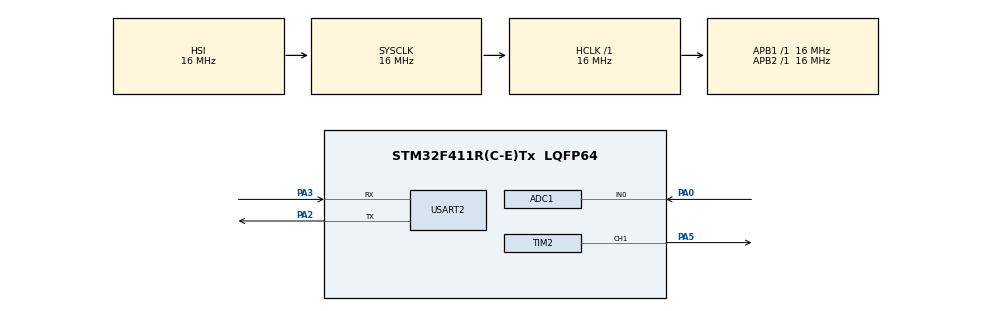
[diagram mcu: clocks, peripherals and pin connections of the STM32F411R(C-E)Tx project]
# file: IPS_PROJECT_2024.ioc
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ADC1.Channel-0\#ChannelRegularConversion=ADC_CHANNEL_0
ADC1.NbrOfConversionFlag=1
ADC1.Rank-0\#ChannelRegularConversion=1
ADC1.SamplingTime-0\#ChannelRegularConversion=ADC_SAMPLETIME_3CYCLES
ADC1.master=1
Dma.ADC1.0.Direction=DMA_PERIPH_TO_MEMORY
Dma.ADC1.0.FIFOMode=DMA_FIFOMODE_DISABLE
Dma.ADC1.0.Instance=DMA2_Stream0
Dma.ADC1.0.MemDataAlignment=DMA_MDATAALIGN_HALFWORD
Dma.ADC1.0.MemInc=DMA_MINC_ENABLE
Dma.ADC1.0.Mode=DMA_NORMAL
Dma.ADC1.0.PeriphDataAlignment=DMA_PDATAALIGN_HALFWORD
Dma.ADC1.0.PeriphInc=DMA_PINC_DISABLE
Dma.ADC1.0.Priority=DMA_PRIORITY_LOW
Dma.Request0=ADC1
Mcu.Family=STM32F4
Mcu.Name=STM32F411R(C-E)Tx
Mcu.Package=LQFP64
NVIC.DMA2_Stream0_IRQn=true\:0\:0\:false\:false\:true\:false\:true\:true
NVIC.PriorityGroup=NVIC_PRIORITYGROUP_4
NVIC.USART2_IRQn=true\:0\:0\:false\:false\:true\:true\:true\:true
PA0-WKUP.Signal=ADCx_IN0
PA2.Mode=Asynchronous
PA2.Signal=USART2_TX
PA3.Mode=Asynchronous
PA3.Signal=USART2_RX
PA5.Signal=S_TIM2_CH1_ETR
ProjectManager.HeapSize=0x200
ProjectManager.StackSize=0x400
ProjectManager.TargetToolchain=STM32CubeIDE
RCC.AHBFreq_Value=16000000
RCC.APB1Freq_Value=16000000
RCC.APB2Freq_Value=16000000
RCC.CortexFreq_Value=16000000
RCC.HSE_VALUE=25000000
RCC.HSI_VALUE=16000000
RCC.LSE_VALUE=32768
RCC.SYSCLKFreq_VALUE=16000000
RCC.VCOOutputFreq_Value=192000000
SH.ADCx_IN0.0=ADC1_IN0,IN0
SH.S_TIM2_CH1_ETR.0=TIM2_CH1,PWM Generation1 CH1
TIM2.AutoReloadPreload=TIM_AUTORELOAD_PRELOAD_ENABLE
TIM2.Channel-PWM\ Generation1\ CH1=TIM_CHANNEL_1
TIM2.Period=200
TIM2.Prescaler=1599
USART2.VirtualMode=VM_ASYNC
board=custom

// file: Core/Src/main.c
/* USER CODE BEGIN Header */
/**
  ******************************************************************************
  * @file           : main.c
  * @brief          : Main program body
  ******************************************************************************
  * @attention
  *
  * Copyright (c) 2024 STMicroelectronics.
  * All rights reserved.
  *
  * This software is licensed under terms that can be found in the LICENSE file
  * in the root directory of this software component.
  * If no LICENSE file comes with this software, it is provided AS-IS.
  *
  ******************************************************************************
  */
/* USER CODE END Header */
#include "main.h"

/* USER CODE BEGIN PTD */

#define RING_BUF_SIZE	60

typedef volatile struct RingBuffer {
	char buf[RING_BUF_SIZE];
	int  i_push;		/* pointeur (index) d'écriture */
	int  i_pop;		/* pointeur (index) de lecture */
} RingBuffer;

static RingBuffer rx_buf = {
	.i_push=0,
	.i_pop=0
};

#define buffSize 		100

typedef volatile struct Buffer {
	int buff[buffSize][3];
	int index;
	int size;
} Buffer;
/* USER CODE END PTD */

/* USER CODE BEGIN PD */
#define ADC_SIZE 		1
#define txBufSendLEN 	1000 	//Taille buffer d'envoi des données
#define txBufReceiveLEN 10 		//Taille buffer de reception des données
#define ANGLE_MIN 0
#define ANGLE_MAX 180
#define CCR_MIN 6.5
#define CCR_MAX 26
#define NUM_VALUES 20 			// Nombre de valeurs utilisées pour le moyennage
#define GF 2.1  				//Gauge Factor
#define V_ref 5  				//Tension de référence 5V
#define E 69000000000			//module de Young de la lame en aluminium
#define L 0.3				// longueur de la poutre en m
#define B 0.03           		// largeur de la poutre en m
#define H 0.002                 // epaisseur de la poutre en m
#define I 0.00000000002			// moment quadratique de la poutre en m^4 (B*H^3)/12
#define OFFSET 0.012
#define G 9.81                	//pesanteur en m/s^2
#define Y 0.007               	// Position de la jauge en m
#define Z 0.011 				// Distance entre l'axe neutre et la jauge en m
uint16_t VmValues[NUM_VALUES]; // Initialisation des valeurs à 0
uint8_t VmIndex = 0; // Indice pour ajouter les nouvelles valeurs dans le tableau
uint16_t Vm;
/* USER CODE END PD */

ADC_HandleTypeDef hadc1;
DMA_HandleTypeDef hdma_adc1;

TIM_HandleTypeDef htim1;
TIM_HandleTypeDef htim2;

UART_HandleTypeDef huart2;

/* USER CODE BEGIN PV */

//Buffers
char txBufSend[txBufSendLEN];    //envoi des données
char txBufReceive[txBufReceiveLEN];    //reception des données
volatile uint32_t adcResultsDMA[ADC_SIZE];    //récupération des valeur du DMA
int mode=1, servoMode=0, servoPos=0;

char commande[3][33];			//3 listes de 19 char

Buffer bufferCom = {    //Buffer d'écriture permettant de ne pas envoyer des données en interruptions
		.index = 0,
		.size = buffSize
};
/*
void HAL_UART_RxCpltCallback(UART_HandleTypeDef *huart) {
	  HAL_UART_Receive_IT(&huart2, (uint8_t *)txBufReceive, txBufReceiveLEN);
}*/
/* USER CODE END PV */

void SystemClock_Config(void);
static void MX_GPIO_Init(void);
static void MX_DMA_Init(void);
static void MX_ADC1_Init(void);
static void MX_USART2_UART_Init(void);
static void MX_TIM2_Init(void);
int put_char(char);
void term_printf_stlink(const char* fmt, ...);
/* USER CODE BEGIN PFP */
void HAL_UART_RxCpltCallback(UART_HandleTypeDef *huart);
float servo_writeAngle(int angle);
void computeData(const char* data);
int forceToAngle(float force);
float calculateMasse(float v);
/* USER CODE END PFP */
#define per_deg 5.55  // pulse for 1° Rotation
uint16_t Vm;
char msg[555];
int main(void)
{

  /* MCU Configuration--------------------------------------------------------*/

  /* Reset of all peripherals, Initializes the Flash interface and the Systick. */
  HAL_Init();

  /* USER CODE BEGIN Init */
  HAL_MspInit();
  /* USER CODE END Init */

  /* Configure the system clock */
  SystemClock_Config();

  /* Initialize all configured peripherals */
  MX_GPIO_Init();
  MX_DMA_Init();
  MX_ADC1_Init();
  MX_USART2_UART_Init();
  MX_TIM2_Init();
  //MX_TIM1_Init();
  /* USER CODE BEGIN 2 */
  HAL_TIM_PWM_Start(&htim2, TIM_CHANNEL_1);
  HAL_TIM_Base_Start_IT(&htim2);
  /* USER CODE END 2 */
  /* Infinite loop */
  /* USER CODE BEGIN WHILE */
  float voltage;
  float masse;
  float deformation;
  float force;

  while (1) {
      HAL_ADC_Start(&hadc1);
      //Attends la fin de la conversion pour Vm
      HAL_ADC_PollForConversion(&hadc1, 100);
      // Lit la valeur brute de l'ADC (12 bits)
      Vm = HAL_ADC_GetValue(&hadc1);
      // Conversion de la valeur brute d'ADC en tension
      voltage = ((float)Vm * 3.3 / 4095.0);
      // Arrête l'ADC pour Vm
      HAL_ADC_Stop(&hadc1);

      // Affichage de la tension sur l'IHM
      sprintf(msg,"V:%f\r\n",voltage);
      HAL_UART_Transmit(&huart2, (uint8_t*)msg, strlen(msg), HAL_MAX_DELAY);

      // Calculer la masse
      masse = calculateMasse(voltage); // en g
	  // Affichage de la masse sur l'IHM
      sprintf(msg,"M:%f\r\n",masse);
      HAL_UART_Transmit(&huart2, (uint8_t*)msg, strlen(msg), HAL_MAX_DELAY);

      // Calculer la déformation
      deformation = (masse*0.001*G*L)/ (2*E*I);
	  // Affichage de la déformation sur l'IHM
      sprintf(msg,"D:%f\r\n",deformation);
      HAL_UART_Transmit(&huart2, (uint8_t*)msg, strlen(msg), HAL_MAX_DELAY);

      //Calcul de la force
      force = masse*0.001*G;
	  // Affichage de l'effort sur l'IHM
      sprintf(msg,"F:%f\r\n",force);
      HAL_UART_Transmit(&huart2, (uint8_t*)msg, strlen(msg), HAL_MAX_DELAY);

      HAL_Delay(1000);

	    if (mode == 1) {  // Mode manuel
	        float duty = servo_writeAngle(servoPos);  // Calcul du duty cycle
	        htim2.Instance->CCR1 = duty;  // Appliquer le duty cycle

	        // Envoyer l'angle actuel via UART pour synchronisation avec le frontend
	        //term_printf_stlink("Mode: 1, Angle: %d \r\n", servoPos);

	    }
	    else if (mode == 2) {  // Mode automatique
	          // Calculer l'angle du servomoteur en fonction de la force
	          int angleAuto = forceToAngle(force);

	          // Calculer le duty cycle en fonction de l'angle
	          float duty = servo_writeAngle(angleAuto);
	          htim2.Instance->CCR1 = duty;  // Appliquer le duty cycle

	          // Envoyer l'angle actuel via UART pour la synchronisation avec le frontend
	          term_printf_stlink("%d\r\n", angleAuto);
	    }
  }
}
float calculateMasse(float v){
	float masse;
	if(v>=0.61){
		masse=0;
	}
	else if(v>=0.60 && v<0.61){
		masse=5;
	}
	else if(v>=0.59 && v<0.60){
		masse=10;
	}
	else if(v>=0.586 && v<0.59){
		masse=20;
	}
	else if(v>=0.55 && v<0.585){
		masse=50;
	}
	else if(v>=0.44 && v<=0.48){
		masse=100;
	}
	else if(v<0.48){
		masse=100;
	}
	return masse;

}

int forceToAngle(float force){
    float forceMin = 0.0;
    float forceMax = 0.981;  // Force maximale en N (avec une masse de 100 g)
    float angleMin = ANGLE_MIN;  // Angle minimal du servomoteur
    float angleMax = ANGLE_MAX;  // Angle maximal du servomoteur

    // Vérification que la force est dans la plage valide
    if (force < forceMin) force = forceMin;
    if (force > forceMax) force = forceMax;

    // Mapper la force à l'angle
    float angle = angleMin + ((force - forceMin) / (forceMax - forceMin)) * (angleMax - angleMin);
    return (int)angle;  // Retourne l'angle calculé
}

float servo_writeAngle(int angle) {
    if (angle < ANGLE_MIN) angle = ANGLE_MIN;
    if (angle > ANGLE_MAX) angle = ANGLE_MAX;
    float duty = CCR_MIN + (((float)(angle - ANGLE_MIN) / (ANGLE_MAX - ANGLE_MIN)) * (CCR_MAX - CCR_MIN));
    return duty;
}

void computeData(const char* data) {
    char *token = strtok(data, ",");  // Découpage de la commande reçue
    int i = 0;
    while (token) {
        strcpy(commande[i], token);
        i++;
        token = strtok(NULL, ",");
    }

    mode = atoi(commande[0]);  // Premier paramètre : mode

    if (i > 1) {  // Deuxième paramètre : angle manuel
        int angle = atoi(commande[1]);
        if (angle >= ANGLE_MIN && angle <= ANGLE_MAX) {
            servoPos = angle;
        }
    }

    // Optionnel : Envoyer un accusé de réception
    //term_printf_stlink("Mode: %d, Angle: %d \r\n", mode, servoPos);
}

void SystemClock_Config(void)
{
  RCC_OscInitTypeDef RCC_OscInitStruct = {0};
  RCC_ClkInitTypeDef RCC_ClkInitStruct = {0};

  /** Configure the main internal regulator output voltage
  */
  __HAL_RCC_PWR_CLK_ENABLE();
  __HAL_PWR_VOLTAGESCALING_CONFIG(PWR_REGULATOR_VOLTAGE_SCALE1);

  /** Initializes the RCC Oscillators according to the specified parameters
  * in the RCC_OscInitTypeDef structure.
  */
  RCC_OscInitStruct.OscillatorType = RCC_OSCILLATORTYPE_HSI;
  RCC_OscInitStruct.HSIState = RCC_HSI_ON;
  RCC_OscInitStruct.HSICalibrationValue = RCC_HSICALIBRATION_DEFAULT;
  RCC_OscInitStruct.PLL.PLLState = RCC_PLL_NONE;
  if (HAL_RCC_OscConfig(&RCC_OscInitStruct) != HAL_OK)
  {
    Error_Handler();
  }

  /** Initializes the CPU, AHB and APB buses clocks
  */
  RCC_ClkInitStruct.ClockType = RCC_CLOCKTYPE_HCLK|RCC_CLOCKTYPE_SYSCLK
                              |RCC_CLOCKTYPE_PCLK1|RCC_CLOCKTYPE_PCLK2;
  RCC_ClkInitStruct.SYSCLKSource = RCC_SYSCLKSOURCE_HSI;
  RCC_ClkInitStruct.AHBCLKDivider = RCC_SYSCLK_DIV1;
  RCC_ClkInitStruct.APB1CLKDivider = RCC_HCLK_DIV1;
  RCC_ClkInitStruct.APB2CLKDivider = RCC_HCLK_DIV1;

  if (HAL_RCC_ClockConfig(&RCC_ClkInitStruct, FLASH_LATENCY_0) != HAL_OK)
  {
    Error_Handler();
  }
}

static void MX_ADC1_Init(void)
{

  ADC_ChannelConfTypeDef sConfig = {0};

  /** Configure the global features of the ADC (Clock, Resolution, Data Alignment and number of conversion)
  */
  hadc1.Instance = ADC1;
  hadc1.Init.ClockPrescaler = ADC_CLOCK_SYNC_PCLK_DIV2;
  hadc1.Init.Resolution = ADC_RESOLUTION_12B;
  hadc1.Init.ScanConvMode = DISABLE;
  hadc1.Init.ContinuousConvMode = DISABLE;
  hadc1.Init.DiscontinuousConvMode = DISABLE;
  hadc1.Init.ExternalTrigConvEdge = ADC_EXTERNALTRIGCONVEDGE_NONE;
  hadc1.Init.ExternalTrigConv = ADC_SOFTWARE_START;
  hadc1.Init.DataAlign = ADC_DATAALIGN_RIGHT;
  hadc1.Init.NbrOfConversion = 1;
  hadc1.Init.DMAContinuousRequests = DISABLE;
  hadc1.Init.EOCSelection = ADC_EOC_SINGLE_CONV;
  if (HAL_ADC_Init(&hadc1) != HAL_OK)
  {
    Error_Handler();
  }

  /** Configure for the selected ADC regular channel its corresponding rank in the sequencer and its sample time.
  */
  sConfig.Channel = ADC_CHANNEL_0;
  sConfig.Rank = 1;
  sConfig.SamplingTime = ADC_SAMPLETIME_3CYCLES;
  if (HAL_ADC_ConfigChannel(&hadc1, &sConfig) != HAL_OK)
  {
    Error_Handler();
  }

}

static void MX_TIM2_Init(void)
{

  TIM_MasterConfigTypeDef sMasterConfig = {0};
  TIM_OC_InitTypeDef sConfigOC = {0};

  htim2.Instance = TIM2;
  htim2.Init.Prescaler = 1599;
  htim2.Init.CounterMode = TIM_COUNTERMODE_UP;
  htim2.Init.Period = 200;
  htim2.Init.ClockDivision = TIM_CLOCKDIVISION_DIV1;
  htim2.Init.AutoReloadPreload = TIM_AUTORELOAD_PRELOAD_ENABLE;
  if (HAL_TIM_PWM_Init(&htim2) != HAL_OK)
  {
    Error_Handler();
  }
  sMasterConfig.MasterOutputTrigger = TIM_TRGO_RESET;
  sMasterConfig.MasterSlaveMode = TIM_MASTERSLAVEMODE_DISABLE;
  if (HAL_TIMEx_MasterConfigSynchronization(&htim2, &sMasterConfig) != HAL_OK)
  {
    Error_Handler();
  }
  sConfigOC.OCMode = TIM_OCMODE_PWM1;
  sConfigOC.Pulse = 0;
  sConfigOC.OCPolarity = TIM_OCPOLARITY_HIGH;
  sConfigOC.OCFastMode = TIM_OCFAST_DISABLE;
  if (HAL_TIM_PWM_ConfigChannel(&htim2, &sConfigOC, TIM_CHANNEL_1) != HAL_OK)
  {
    Error_Handler();
  }
  HAL_TIM_MspPostInit(&htim2);

}

static void MX_USART2_UART_Init(void)
{

  huart2.Instance = USART2;
  huart2.Init.BaudRate = 115200;
  huart2.Init.WordLength = UART_WORDLENGTH_8B;
  huart2.Init.StopBits = UART_STOPBITS_1;
  huart2.Init.Parity = UART_PARITY_NONE;
  huart2.Init.Mode = UART_MODE_TX_RX;
  huart2.Init.HwFlowCtl = UART_HWCONTROL_NONE;
  huart2.Init.OverSampling = UART_OVERSAMPLING_16;
  if (HAL_UART_Init(&huart2) != HAL_OK)
  {
    Error_Handler();
  }
  HAL_UART_Receive_IT(&huart2, (uint8_t *)txBufReceive, 1);

}

static void MX_DMA_Init(void)
{

  /* DMA controller clock enable */
  __HAL_RCC_DMA2_CLK_ENABLE();

  /* DMA interrupt init */
  /* DMA2_Stream0_IRQn interrupt configuration */
  HAL_NVIC_SetPriority(DMA2_Stream0_IRQn, 0, 0);
  HAL_NVIC_EnableIRQ(DMA2_Stream0_IRQn);

}

static void MX_GPIO_Init(void)
{

	GPIO_InitTypeDef GPIO_InitStruct = {0};
  /* GPIO Ports Clock Enable */
	 __HAL_RCC_GPIOA_CLK_ENABLE();
  	 GPIO_InitStruct.Pin = GPIO_PIN_5;
     GPIO_InitStruct.Mode = GPIO_MODE_AF_PP;
     GPIO_InitStruct.Pull = GPIO_NOPULL;
     GPIO_InitStruct.Speed = GPIO_SPEED_FREQ_LOW;
     GPIO_InitStruct.Alternate = GPIO_AF1_TIM2;
     HAL_GPIO_Init(GPIOA, &GPIO_InitStruct);

}

/* USER CODE BEGIN 4 */

int put_char(char ch)
{
	HAL_UART_Transmit(&huart2, (uint8_t *)&ch, 1, 0xFFFF);
}

int putchar_stlink(char ch)
{
	HAL_UART_Transmit(&huart2, (uint8_t *)&ch, 1, 0xFFFF);
	return 0;
}

//=================================================================
//	Helper Functions and Buffer Management
//=================================================================

// Add data to the buffer
static void add_to_buffer(char data) {
    // Check if buffer is not full
    if ((rx_buf.i_push + 1) % RING_BUF_SIZE != rx_buf.i_pop) {
        // Add character to the buffer
        rx_buf.buf[rx_buf.i_push] = data;
        // Increment write index
        rx_buf.i_push = (rx_buf.i_push + 1) % RING_BUF_SIZE;
    }
}

// Clear the buffer
static void clear_buffer() {
    // Reset both read and write indices
    rx_buf.i_push = 0;
    rx_buf.i_pop = 0;
}

void put_string_stlink(char* s)
{
	while(*s != '\0')
	{
		putchar_stlink(*s);
		s++;
	}
}

void term_printf_stlink(const char* fmt, ...)
{
	va_list        ap;
	char          *p;
	char           ch;
	unsigned long  ul;
	unsigned long long ull;
	unsigned long  size;
	unsigned int   sp;
	char           s[34];
	int 		 first=0;

	va_start(ap, fmt);
	while (*fmt != '\0') {
		if (*fmt =='%') {
			size=0; sp=1;
			if (*++fmt=='0') {fmt++; sp=0;}	// parse %04d --> sp=0
			ch=*fmt;
			if ((ch>'0') && (ch<='9')) {	// parse %4d --> size=4
				char tmp[10];
				int i=0;
				while ((ch>='0') && (ch<='9')) {
					tmp[i++]=ch;
					ch=*++fmt;
				}
				tmp[i]='\0';
				size=str2num(tmp,10);
			}
			switch (ch) {
				case '%':
					 putchar_stlink('%');
					break;
				case 'c':
					ch = va_arg(ap, int);
					putchar_stlink(ch);
					break;
				case 's':
					p = va_arg(ap, char *);
					put_string_stlink(p);
					break;
				case 'd':
					ul = va_arg(ap, long);
					if ((long)ul < 0) {
						putchar_stlink('-');
						ul = -(long)ul;
						//size--;
					}
					num2str(s, ul, 10, size, sp);
					put_string_stlink(s);
					break;
				case 'u':
					ul = va_arg(ap, unsigned int);
					num2str(s, ul, 10, size, sp);
					put_string_stlink(s);
					break;
				case 'o':
					ul = va_arg(ap, unsigned int);
					num2str(s, ul, 8, size, sp);
					put_string_stlink(s);
					break;
				case 'p':
					putchar_stlink('0');
					putchar_stlink('x');
					ul = va_arg(ap, unsigned int);
					num2str(s, ul, 16, size, sp);
					put_string_stlink(s);
					break;
				case 'x':
					ul = va_arg(ap, unsigned int);
					num2str(s, ul, 16, size, sp);
					put_string_stlink(s);
					break;
				case 'f':
				    // Récupérer l'argument au format IEEE 754 (32 bits)
				    unsigned long ull = va_arg(ap, unsigned long);

				    // Extraire le signe, l'exposant, et la mantisse
				    int sign = (ull & 0x80000000) >> 31; // Bit de signe
				    int e = (ull & 0x7F800000) >> 23;    // Exposant (biaisé de 127)
				    int m = (ull & 0x007FFFFF);          // Mantisse

				    // Normaliser la mantisse
				    float mf = (float)m / 8388608.0; // Division par 2^23
				    mf += 1.0; // Ajout de 1 pour la normalisation

				    // Calcul de la valeur finale
				    e -= 127; // Suppression du biais de l'exposant
				    // Calcul de la puissance de 2 manuellement
				    float factor = 1.0;
				    if (e > 0) {
				        for (int i = 0; i < e; i++) {
				            factor *= 2.0; // Multiplication par 2 pour e > 0
				        }
				    } else if (e < 0) {
				        for (int i = 0; i < -e; i++) {
				            factor /= 2.0; // Division par 2 pour e < 0
				        }
				    }

				    // Calcul de la valeur réelle
				    float f = mf * factor; // Mantisse * 2^e
				    if (sign == 1) f = -f; // Ajout du signe

				    // Conversion en chaîne avec précision de 5 chiffres après la virgule
				    float2str((char *)s, f, 5);

				    // Afficher la chaîne résultante
				    put_string_stlink((char *)s);
				    break;
				default:
					putchar_stlink(*fmt);
			}
		} else putchar_stlink(*fmt);
		fmt++;
	}
	va_end(ap);
}

//fonction callback de réception de données sur le port série
void HAL_UART_RxCpltCallback(UART_HandleTypeDef *huart){

	HAL_UART_Receive_IT(&huart2, (uint8_t *)txBufReceive, 1);
	char car_received= (char)txBufReceive[0];
	//char 'e' mean end of commande
	if(car_received == 'e'){
		rx_buf.buf[rx_buf.i_push] = '\0';
		computeData(rx_buf.buf);
		clear_buffer();
	}else{
		add_to_buffer(car_received);
	}
}

//void HAL_TIM_PeriodElapsedCallback(TIM_HandleTypeDef *htim)
//{
//  HAL_GPIO_TogglePin(GPIOA, GPIO_PIN_5);
//  HAL_UART_Receive_IT(&huart2, (uint8_t *)txBufReceive, txBufReceiveLEN);//fonction de communication
//  computeData();
//
//}

/* USER CODE END 4 */

void Error_Handler(void)
{
  __disable_irq();
  while (1)
  {
  }
}
